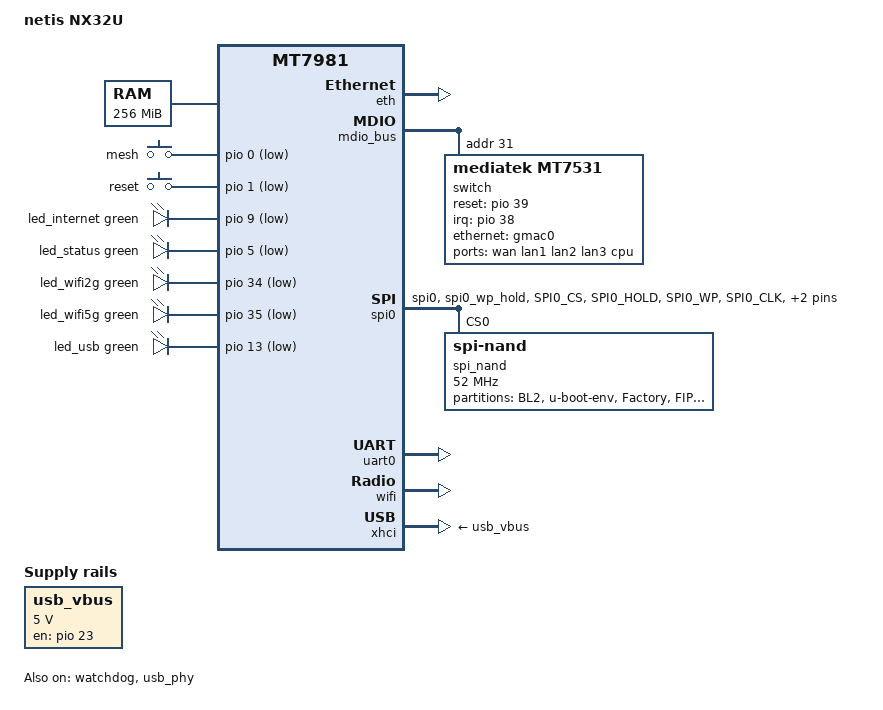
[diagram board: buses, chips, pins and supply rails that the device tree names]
// SPDX-License-Identifier: GPL-2.0-only OR MIT

/dts-v1/;
#include <dt-bindings/gpio/gpio.h>
#include <dt-bindings/input/input.h>
#include <dt-bindings/leds/common.h>

#include "mt7981b.dtsi"

/ {
	model = "netis NX32U";
	compatible = "netis,nx32u", "mediatek,mt7981";

	aliases {
		label-mac-device = &gmac0;

		led-boot = &led_status;
		led-failsafe = &led_status;
		led-upgrade = &led_status;

		serial0 = &uart0;
	};

	chosen {
		rootdisk = <&ubi_fit_volume>;
		stdout-path = "serial0:115200n8";
	};

	memory {
		device_type = "memory";
		reg = <0x0 0x40000000 0x0 0x10000000>;
	};

	gpio-keys {
		compatible = "gpio-keys";

		button-mesh {
			label = "mesh";
			gpios = <&pio 0 GPIO_ACTIVE_LOW>;
			linux,code = <KEY_RFKILL>;
			debounce-interval = <60>;
		};

		button-reset {
			label = "reset";
			gpios = <&pio 1 GPIO_ACTIVE_LOW>;
			linux,code = <KEY_RESTART>;
			debounce-interval = <60>;
		};
	};

	leds {
		compatible = "gpio-leds";

		led_internet {
			color = <LED_COLOR_ID_GREEN>;
			function = LED_FUNCTION_WAN_ONLINE;
			gpios = <&pio 9 GPIO_ACTIVE_LOW>;
		};

		led_status: led_wps {
			color = <LED_COLOR_ID_GREEN>;
			function = LED_FUNCTION_WPS;
			gpios = <&pio 5 GPIO_ACTIVE_LOW>;
		};

		led_wifi2g {
			color = <LED_COLOR_ID_GREEN>;
			function = LED_FUNCTION_WLAN_2GHZ;
			gpios = <&pio 34 GPIO_ACTIVE_LOW>;
			linux,default-trigger = "phy0tpt";
		};

		led_wifi5g {
			color = <LED_COLOR_ID_GREEN>;
			function = LED_FUNCTION_WLAN_5GHZ;
			gpios = <&pio 35 GPIO_ACTIVE_LOW>;
			linux,default-trigger = "phy1tpt";
		};

		led_usb {
			color = <LED_COLOR_ID_GREEN>;
			function = LED_FUNCTION_USB;
			gpios = <&pio 13 GPIO_ACTIVE_LOW>;
			linux,default-trigger = "usbport";
			trigger-sources = <&usb3_port1>, <&usb3_port2>;
		};
	};

	usb_vbus: regulator-usb {
		compatible = "regulator-fixed";
		regulator-name = "usb-vbus";
		regulator-min-microvolt = <5000000>;
		regulator-max-microvolt = <5000000>;
		gpios = <&pio 23 GPIO_ACTIVE_HIGH>;
		enable-active-high;
		regulator-boot-on;
	};
};

&eth {
	pinctrl-names = "default";
	pinctrl-0 = <&mdio_pins>;
	status = "okay";

	gmac0: mac@0 {
		compatible = "mediatek,eth-mac";
		reg = <0>;
		phy-mode = "2500base-x";

		nvmem-cell-names = "mac-address";
		nvmem-cells = <&macaddr_factory_1fef20>;

		fixed-link {
			speed = <2500>;
			full-duplex;
			pause;
		};
	};
};

&mdio_bus {
	switch: switch@1f {
		compatible = "mediatek,mt7531";
		reg = <0x1f>;
		reset-gpios = <&pio 39 GPIO_ACTIVE_HIGH>;
		interrupt-controller;
		#interrupt-cells = <1>;
		interrupt-parent = <&pio>;
		interrupts = <38 IRQ_TYPE_LEVEL_HIGH>;
	};
};

&switch {
	ports {
		#address-cells = <1>;
		#size-cells = <0>;

		port@0 {
			reg = <0>;
			label = "wan";

			nvmem-cell-names = "mac-address";
			nvmem-cells = <&macaddr_factory_1fef26>;
		};

		port@1 {
			reg = <1>;
			label = "lan1";
		};

		port@2 {
			reg = <2>;
			label = "lan2";
		};

		port@3 {
			reg = <3>;
			label = "lan3";
		};

		port@6 {
			reg = <6>;
			label = "cpu";
			ethernet = <&gmac0>;
			phy-mode = "2500base-x";

			fixed-link {
				speed = <2500>;
				full-duplex;
				pause;
			};
		};
	};
};

&spi0 {
	pinctrl-names = "default";
	pinctrl-0 = <&spi0_flash_pins>;
	#address-cells = <1>;
	#size-cells = <0>;
	status = "okay";

	spi_nand@0 {
		compatible = "spi-nand";
		reg = <0>;

		spi-max-frequency = <52000000>;
		spi-tx-bus-width = <4>;
		spi-rx-bus-width = <4>;

		spi-cal-enable;
		spi-cal-mode = "read-data";
		spi-cal-datalen = <7>;
		spi-cal-data = /bits/ 8 <0x53 0x50 0x49 0x4e 0x41 0x4e 0x44>;
		spi-cal-addrlen = <5>;
		spi-cal-addr = /bits/ 32 <0x0 0x0 0x0 0x0 0x0>;

		partitions {
			compatible = "fixed-partitions";
			#address-cells = <1>;
			#size-cells = <1>;

			partition@0 {
				label = "BL2";
				reg = <0x0 0x100000>;
				read-only;
			};

			partition@100000 {
				label = "u-boot-env";
				reg = <0x100000 0x80000>;
				read-only;
			};

			partition@180000 {
				label = "Factory";
				reg = <0x180000 0x200000>;
				read-only;

				nvmem-layout {
					compatible = "fixed-layout";
					#address-cells = <1>;
					#size-cells = <1>;

					eeprom_factory_0: eeprom@0 {
						reg = <0x0 0x1000>;
					};

					macaddr_factory_1fef20: macaddr@1fef20 {
						reg = <0x1fef20 0x6>;
					};

					macaddr_factory_1fef26: macaddr@1fef26 {
						reg = <0x1fef26 0x6>;
					};
				};
			};

			partition@380000 {
				label = "FIP";
				reg = <0x380000 0x200000>;
				read-only;
			};

			partition@580000 {
				label = "ubi";
				reg = <0x580000 0x7a80000>;
				compatible = "linux,ubi";

				volumes {
					ubi_fit_volume: ubi-volume-fit {
						volname = "fit";
					};

					ubi_ubootenv: ubi-volume-ubootenv {
						volname = "ubootenv";
					};

					ubi_ubootenv2: ubi-volume-ubootenv2 {
						volname = "ubootenv2";
					};
				};
			};
		};
	};
};

&pio {
	spi0_flash_pins: spi0-pins {
		mux {
			function = "spi";
			groups = "spi0", "spi0_wp_hold";
		};

		conf-pu {
			pins = "SPI0_CS", "SPI0_HOLD", "SPI0_WP";
			drive-strength = <MTK_DRIVE_8mA>;
			bias-pull-up = <MTK_PUPD_SET_R1R0_11>;
		};

		conf-pd {
			pins = "SPI0_CLK", "SPI0_MOSI", "SPI0_MISO";
			drive-strength = <MTK_DRIVE_8mA>;
			bias-pull-down = <MTK_PUPD_SET_R1R0_11>;
		};
	};
};

&uart0 {
	status = "okay";
};

&watchdog {
	status = "okay";
};

&wifi {
	status = "okay";
	nvmem-cell-names = "eeprom";
	nvmem-cells = <&eeprom_factory_0>;
};

&usb_phy {
	status = "okay";
};

&xhci {
	vbus-supply = <&usb_vbus>;
	status = "okay";

	usb3_port1: port@1 {
		reg = <1>;
		#trigger-source-cells = <0>;
	};

	usb3_port2: port@2 {
		reg = <2>;
		#trigger-source-cells = <0>;
	};
};
